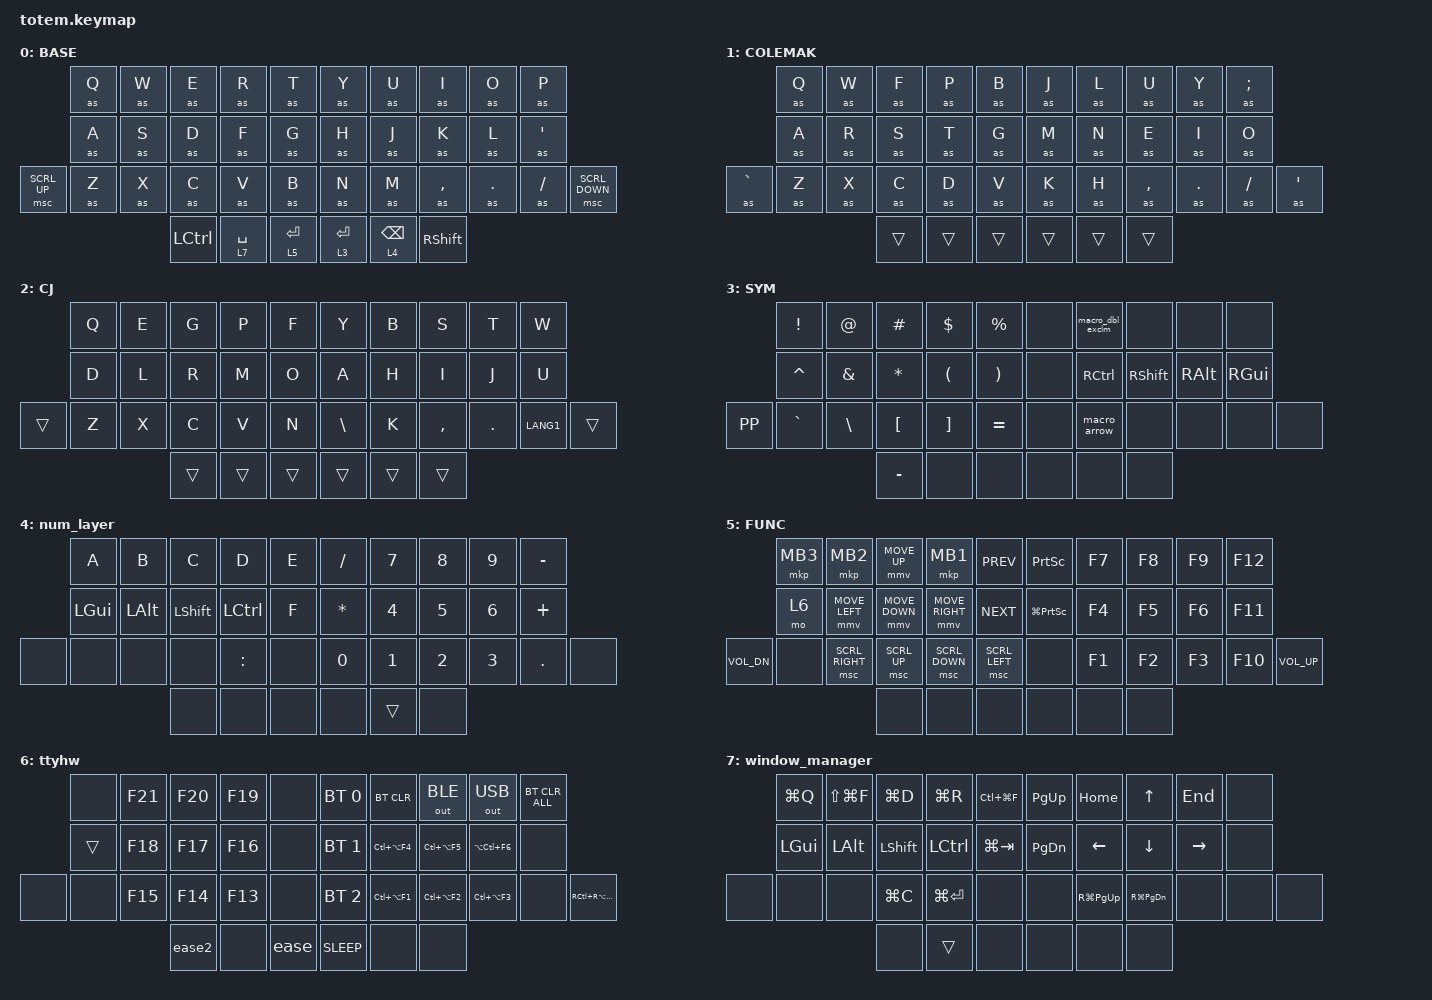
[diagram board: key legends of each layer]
//
//                                                        ▀▀▀▀▀     ▀▀▀▀▀          ▀▀█▀▀
//                                                        ▄▀▀▀▄  ▄  ▄▀▀▀▄  ▄  ▄▀▀▀▄  █  ▄▀▀▀▄
//                                                        █   █  █  █   █  █  █   █  █  █   █
//                                                         ▀▀▀   █   ▀▀▀   █   ▀▀▀   ▀   ▀▀▀
//                                                               █      ▄▄▄█▄▄▄    █   █  
//                                                               ▀      █  █  █     █▄█
//                                                             ▀▀▀▀▀    █  █  █      ▀
//                                                                      ▀  ▀  ▀
//
// ▄▄▄▄▄▄▄▄▄▄▄▄▄▄▄▄▄▄▄▄▄▄▄▄▄▄▄▄▄▄▄▄▄▄▄▄▄▄▄▄▄▄▄▄▄▄▄▄▄▄▄▄▄▄▄▄▄▄▄▄▄▄▄▄▄▄▄▄▄▄▄▄▄▄▄▄▄▄▄▄▄▄▄▄▄▄▄▄▄▄▄▄▄▄▄▄▄▄▄▄▄▄▄▄▄▄▄▄▄▄▄▄▄▄▄▄▄▄▄▄▄▄▄▄▄▄▄▄▄▄▄▄▄▄▄▄▄▄▄▄▄▄▄▄▄▄▄▄▄

#include <behaviors.dtsi>
#include <dt-bindings/zmk/bt.h>
#include <dt-bindings/zmk/keys.h>
#include <dt-bindings/zmk/outputs.h>
#include <dt-bindings/zmk/pointing.h>

#define BASE 0
#define NAV  1
#define SYM  2
#define ADJ  3
#define TVP1 4
#define TVP2 5

&mt {
    quick-tap-ms = <100>;
    flavor = "tap-preferred";
    tapping-term-ms = <175>;
};

&lt {
    tapping-term-ms = <175>;
    flavor = "hold-preferred";
    quick-tap-ms = <100>;
};

/ {
    combos {
        compatible = "zmk,combos";

        combo_esc {
            timeout-ms = <50>;
            key-positions = <0 1>;
            bindings = <&kp ESC>;
        };

        combo_gui+d {
            bindings = <&kp LG(D)>;
            key-positions = <11 12 13>;
        };

        combo_tab {
            bindings = <&kp TAB>;
            key-positions = <10 11>;
        };

        combo_del {
            bindings = <&kp DEL>;
            key-positions = <8 9>;
        };

        combo_semicolon {
            bindings = <&kp SEMICOLON>;
            key-positions = <19 18>;
        };

        combo_colon {
            bindings = <&kp COLON>;
            key-positions = <18 19 17>;
        };
    };

    macros {
        as: as {
            compatible = "zmk,behavior-macro-one-param";
            #binding-cells = <1>;
            bindings =
                <&macro_press>,
                <&macro_param_1to1 &macro_param_1to2 &as_ht MACRO_PLACEHOLDER MACRO_PLACEHOLDER>,
                <&macro_pause_for_release>,
                <&macro_release>,
                <&macro_param_1to1 &macro_param_1to2 &as_ht MACRO_PLACEHOLDER MACRO_PLACEHOLDER>;

            label = "AS";
        };

        shift: shift {
            compatible = "zmk,behavior-macro-one-param";
            #binding-cells = <1>;
            bindings =
                <&macro_press>,
                <&kp LSHIFT>,
                <&macro_tap>,
                <&macro_param_1to1 &kp MACRO_PLACEHOLDER>,
                <&macro_release>,
                <&kp LSHIFT>;

            label = "SHIFT";
        };

        ease: ease {
            compatible = "zmk,behavior-macro";
            #binding-cells = <0>;
            bindings = <&kp F &kp C &kp K &kp N4 &kp N5 &kp A &kp T &kp G &kp RET>;
            label = "EASE";
        };

        ease2: ease2 {
            compatible = "zmk,behavior-macro";
            #binding-cells = <0>;
            bindings = <&kp LS(Y) &kp LS(C) &kp L &kp POUND &kp E &kp T &kp N0 &kp N5 &kp RET>;
            label = "EASE2";
        };

        macro_dbl_exclm: macro_dbl_exclm {
            compatible = "zmk,behavior-macro";
            #binding-cells = <0>;
            bindings = <&none &kp EXCL &kp EXCL>;
            label = "MACRO_DBL_EXCLM";
        };

        macro_arrow: macro_arrow {
            compatible = "zmk,behavior-macro";
            #binding-cells = <0>;
            bindings = <&none &kp MINUS &kp GT>;
            label = "MACRO_ARROW";
        };
    };

    behaviors {
        as_ht: autoshift_hold_tap {
            compatible = "zmk,behavior-hold-tap";
            label = "AUTOSHIFT_HOLD_TAP";
            bindings = <&shift>, <&kp>;

            #binding-cells = <2>;
            tapping-term-ms = <190>;
            flavor = "tap-preferred";
        };
    };

    keymap {
        compatible = "zmk,keymap";

        // ▄▄▄▄▄▄▄▄▄▄▄▄▄▄▄▄▄▄▄▄▄▄▄▄▄▄▄▄▄▄▄▄▄▄▄▄▄▄▄▄▄▄▄▄▄▄▄▄▄▄▄▄▄▄▄▄▄▄▄▄▄▄▄▄▄▄▄▄▄▄▄▄▄▄▄▄▄▄▄▄▄▄▄▄▄▄▄▄▄▄▄▄▄▄▄▄▄▄▄▄▄▄▄▄▄▄▄▄▄▄▄▄▄▄▄▄▄▄▄▄▄▄▄▄▄▄▄▄▄▄▄▄▄▄▄▄▄▄▄▄▄▄▄▄▄▄▄▄▄

        base_layer {
            // ┏━━━━━━━━━━━━━━━━━━━━━━━━━━━━━━━━━━━━━━━┓

            label = "BASE";

            // ┗━━━━━━━━━━━━━━━━━━━━━━━━━━━━━━━━━━━━━━━┛
            //             ┏━━━━━━━━━━━┳━━━━━━━━━━━┳━━━━━━━━━━━┳━━━━━━━━━━━┳━━━━━━━━━━━┓   ┏━━━━━━━━━━━┳━━━━━━━━━━━┳━━━━━━━━━━━┳━━━━━━━━━━━┳━━━━━━━━━━━┓
            //             ┃     Q     ┃     W     ┃     F     ┃     P     ┃     G     ┃   ┃     J     ┃     L     ┃     U     ┃     Y     ┃     ;     ┃
            //             ┣━━━━━━━━━━━╋━━━━━━━━━━━╋━━━━━━━━━━━╋━━━━━━━━━━━╋━━━━━━━━━━━┫   ┣━━━━━━━━━━━╋━━━━━━━━━━━╋━━━━━━━━━━━╋━━━━━━━━━━━╋━━━━━━━━━━━┫
            //             ┃     A     ┃     R     ┃     S     ┃     T     ┃     D     ┃   ┃     H     ┃     N     ┃     E     ┃     I     ┃     O     ┃
            // ┏━━━━━━━━━━━╋━━━━━━━━━━━╋━━━━━━━━━━━╋━━━━━━━━━━━╋━━━━━━━━━━━╋━━━━━━━━━━━┫   ┣━━━━━━━━━━━╋━━━━━━━━━━━╋━━━━━━━━━━━╋━━━━━━━━━━━╋━━━━━━━━━━━╋━━━━━━━━━━━┓
            // ┃     Q     ┃     Z     ┃     X     ┃     C     ┃     V     ┃     B     ┃   ┃     K     ┃     M     ┃     ,     ┃     .     ┃     /     ┃     \     ┃
            // ┗━━━━━━━━━━━┻━━━━━━━━━━━┻━━━━━━━━━━━╋━━━━━━━━━━━╋━━━━━━━━━━━╋━━━━━━━━━━━┫   ┣━━━━━━━━━━━╋━━━━━━━━━━━╋━━━━━━━━━━━╋━━━━━━━━━━━┻━━━━━━━━━━━┻━━━━━━━━━━━┛
            //                                     ┃    DEL    ┃    TAB    ┃    SPC    ┃   ┃   ENTER   ┃           ┃   BSPC    ┃
            //                                     ┗━━━━━━━━━━━┻━━━━━━━━━━━┻━━━━━━━━━━━┛   ┗━━━━━━━━━━━┻━━━━━━━━━━━┻━━━━━━━━━━━┛

            bindings = <
              &as Q  &as W  &as E      &as R        &as T          &as Y        &as U            &as I      &as O    &as P
              &as A  &as S  &as D      &as F        &as G          &as H        &as J            &as K      &as L    &as SQT
&msc SCRL_UP  &as Z  &as X  &as C      &as V        &as B          &as N        &as M            &as COMMA  &as DOT  &as FSLH  &msc SCRL_DOWN
                            &kp LCTRL  &lt 7 SPACE  &lt 5 ENTER    &lt 3 ENTER  &lt 4 BACKSPACE  &kp RSHFT
            >;
        };

        colemak_dh {
            bindings = <
           &as Q  &as W  &as F   &as P   &as B     &as J   &as L   &as U      &as Y    &as SEMI
           &as A  &as R  &as S   &as T   &as G     &as M   &as N   &as E      &as I    &as O
&as GRAVE  &as Z  &as X  &as C   &as D   &as V     &as K   &as H   &as COMMA  &as DOT  &as FSLH  &as APOS
                         &trans  &trans  &trans    &trans  &trans  &trans
            >;

            label = "COLEMAK";
        };

        cangjie {
            bindings = <
        &kp Q  &kp E  &kp G   &kp P   &kp F     &kp Y     &kp B   &kp S      &kp T    &kp W
        &kp D  &kp L  &kp R   &kp M   &kp O     &kp A     &kp H   &kp I      &kp J    &kp U
&trans  &kp Z  &kp X  &kp C   &kp V   &kp N     &kp BSLH  &kp K   &kp COMMA  &kp DOT  &kp LANG1  &trans
                      &trans  &trans  &trans    &trans    &trans  &trans
            >;

            label = "CJ";
        };

        sym_layer {
            // ┏━━━━━━━━━━━━━━━━━━━━━━━━━━━━━━━━━━━━━━━┓

            label = "SYM";

            // ┗━━━━━━━━━━━━━━━━━━━━━━━━━━━━━━━━━━━━━━━┛
            //             ┏━━━━━━━━━━━┳━━━━━━━━━━━┳━━━━━━━━━━━┳━━━━━━━━━━━┳━━━━━━━━━━━┓   ┏━━━━━━━━━━━┳━━━━━━━━━━━┳━━━━━━━━━━━┳━━━━━━━━━━━┳━━━━━━━━━━━┓
            //             ┃           ┃           ┃     UP    ┃           ┃     {     ┃   ┃     }     ┃     7     ┃     8     ┃     9     ┃     +     ┃
            //             ┣━━━━━━━━━━━╋━━━━━━━━━━━╋━━━━━━━━━━━╋━━━━━━━━━━━╋━━━━━━━━━━━┫   ┣━━━━━━━━━━━╋━━━━━━━━━━━╋━━━━━━━━━━━╋━━━━━━━━━━━╋━━━━━━━━━━━┫
            //             ┃   SHIFT   ┃   LEFT    ┃    DOWN   ┃   RIGHT   ┃     [     ┃   ┃     ]     ┃     4     ┃     5     ┃     6     ┃     -     ┃
            // ┏━━━━━━━━━━━╋━━━━━━━━━━━╋━━━━━━━━━━━╋━━━━━━━━━━━╋━━━━━━━━━━━╋━━━━━━━━━━━┫   ┣━━━━━━━━━━━╋━━━━━━━━━━━╋━━━━━━━━━━━╋━━━━━━━━━━━╋━━━━━━━━━━━╋━━━━━━━━━━━┓
            // ┃           ┃           ┃   P UP    ┃  C LOCK   ┃  P DOWN   ┃     (     ┃   ┃     )     ┃     1     ┃     2     ┃     3     ┃     *     ┃           ┃
            // ┗━━━━━━━━━━━┻━━━━━━━━━━━┻━━━━━━━━━━━╋━━━━━━━━━━━╋━━━━━━━━━━━╋━━━━━━━━━━━┫   ┣━━━━━━━━━━━╋━━━━━━━━━━━╋━━━━━━━━━━━╋━━━━━━━━━━━┻━━━━━━━━━━━┻━━━━━━━━━━━┛
            //                                     ┃           ┃    TAB    ┃    SPC    ┃   ┃    DEL    ┃     0     ┃           ┃
            //                                     ┗━━━━━━━━━━━┻━━━━━━━━━━━┻━━━━━━━━━━━┛   ┗━━━━━━━━━━━┻━━━━━━━━━━━┻━━━━━━━━━━━┛

            bindings = <
          &kp EXCL   &kp AT    &kp HASH   &kp DLLR  &kp PRCNT    &none  &macro_dbl_exclm  &none      &none     &none
          &kp CARET  &kp AMPS  &kp ASTRK  &kp LPAR  &kp RPAR     &none  &kp RCTRL         &kp RSHFT  &kp RALT  &kp RGUI
&kp K_PP  &kp GRAVE  &kp BSLH  &kp LBKT   &kp RBKT  &kp EQUAL    &none  &macro_arrow      &none      &none     &none     &none
                               &kp MINUS  &none     &none        &none  &none             &none
            >;
        };

        num_layer {
            bindings = <
       &kp A     &kp B     &kp C      &kp D      &kp E    &kp FSLH  &kp N7  &kp N8  &kp N9  &kp MINUS
       &kp LGUI  &kp LALT  &kp LSHFT  &kp LCTRL  &kp F    &kp STAR  &kp N4  &kp N5  &kp N6  &kp PLUS
&none  &none     &none     &none      &kp COLON  &none    &kp N0    &kp N1  &kp N2  &kp N3  &kp DOT    &none
                           &none      &none      &none    &none     &trans  &none
            >;
        };

        func_layer {
            // ┏━━━━━━━━━━━━━━━━━━━━━━━━━━━━━━━━━━━━━━━┓

            label = "FUNC";

            // ┗━━━━━━━━━━━━━━━━━━━━━━━━━━━━━━━━━━━━━━━┛
            //             ┏━━━━━━━━━━━┳━━━━━━━━━━━┳━━━━━━━━━━━┳━━━━━━━━━━━┳━━━━━━━━━━━┓   ┏━━━━━━━━━━━┳━━━━━━━━━━━┳━━━━━━━━━━━┳━━━━━━━━━━━┳━━━━━━━━━━━┓
            //             ┃   RESET   ┃ BT CLEAR  ┃  OUT TOG  ┃           ┃           ┃   ┃           ┃    F7     ┃    F8     ┃    F9     ┃    F12    ┃
            //             ┣━━━━━━━━━━━╋━━━━━━━━━━━╋━━━━━━━━━━━╋━━━━━━━━━━━╋━━━━━━━━━━━┫   ┣━━━━━━━━━━━╋━━━━━━━━━━━╋━━━━━━━━━━━╋━━━━━━━━━━━╋━━━━━━━━━━━┫
            //             ┃ BOOTLOAD  ┃ BT NEXT   ┃           ┃           ┃           ┃   ┃           ┃    F4     ┃    F5     ┃    F6     ┃    F11    ┃
            // ┏━━━━━━━━━━━╋━━━━━━━━━━━╋━━━━━━━━━━━╋━━━━━━━━━━━╋━━━━━━━━━━━╋━━━━━━━━━━━┫   ┣━━━━━━━━━━━╋━━━━━━━━━━━╋━━━━━━━━━━━╋━━━━━━━━━━━╋━━━━━━━━━━━╋━━━━━━━━━━━┓
            // ┃           ┃           ┃ BT PREV   ┃           ┃           ┃           ┃   ┃           ┃    F1     ┃    F2     ┃    F3     ┃    F10    ┃           ┃
            // ┗━━━━━━━━━━━┻━━━━━━━━━━━┻━━━━━━━━━━━╋━━━━━━━━━━━╋━━━━━━━━━━━╋━━━━━━━━━━━┫   ┣━━━━━━━━━━━╋━━━━━━━━━━━╋━━━━━━━━━━━╋━━━━━━━━━━━┻━━━━━━━━━━━┻━━━━━━━━━━━┛
            //                                     ┃           ┃           ┃           ┃   ┃           ┃           ┃           ┃
            //                                     ┗━━━━━━━━━━━┻━━━━━━━━━━━┻━━━━━━━━━━━┛   ┗━━━━━━━━━━━┻━━━━━━━━━━━┻━━━━━━━━━━━┛

            bindings = <
              &mkp MB3  &mkp MB2         &mmv MOVE_UP    &mkp MB1         &kp K_PREV        &kp PRINTSCREEN      &kp F7  &kp F8  &kp F9  &kp F12
              &mo 6     &mmv MOVE_LEFT   &mmv MOVE_DOWN  &mmv MOVE_RIGHT  &kp K_NEXT        &kp LG(PRINTSCREEN)  &kp F4  &kp F5  &kp F6  &kp F11
&kp K_VOL_DN  &none     &msc SCRL_RIGHT  &msc SCRL_UP    &msc SCRL_DOWN   &msc SCRL_LEFT    &none                &kp F1  &kp F2  &kp F3  &kp F10  &kp K_VOL_UP
                                         &none           &none            &none             &none                &none   &none
            >;
        };

        ttyhw_layer {
            // ┏━━━━━━━━━━━━━━━━━━━━━━━━━━━━━━━━━━━━━━━┓

            label = "ttyhw";

            // ┗━━━━━━━━━━━━━━━━━━━━━━━━━━━━━━━━━━━━━━━┛
            //             ┏━━━━━━━━━━━┳━━━━━━━━━━━┳━━━━━━━━━━━┳━━━━━━━━━━━┳━━━━━━━━━━━┓   ┏━━━━━━━━━━━┳━━━━━━━━━━━┳━━━━━━━━━━━┳━━━━━━━━━━━┳━━━━━━━━━━━┓
            //             ┃ SOLO      ┃ TOGGLE IN ┃ RESET ROT ┃ TOGGLE OUT┃ TAKE SNAP ┃   ┃           ┃           ┃           ┃           ┃           ┃
            //             ┣━━━━━━━━━━━╋━━━━━━━━━━━╋━━━━━━━━━━━╋━━━━━━━━━━━╋━━━━━━━━━━━┫   ┣━━━━━━━━━━━╋━━━━━━━━━━━╋━━━━━━━━━━━╋━━━━━━━━━━━╋━━━━━━━━━━━┫
            //             ┃ ---       ┃ LAST KEY  ┃ NEW KEY   ┃ NEXT KEY  ┃ ENTER     ┃   ┃           ┃           ┃           ┃           ┃           ┃
            // ┏━━━━━━━━━━━╋━━━━━━━━━━━╋━━━━━━━━━━━╋━━━━━━━━━━━╋━━━━━━━━━━━╋━━━━━━━━━━━┫   ┣━━━━━━━━━━━╋━━━━━━━━━━━╋━━━━━━━━━━━╋━━━━━━━━━━━╋━━━━━━━━━━━╋━━━━━━━━━━━┓
            // ┃           ┃ FULLSCR   ┃ CPY2BRUSH ┃ DEL HEAD  ┃ PSTinPLACE┃ BOOK MARK ┃   ┃           ┃           ┃           ┃           ┃           ┃           ┃
            // ┗━━━━━━━━━━━┻━━━━━━━━━━━┻━━━━━━━━━━━╋━━━━━━━━━━━╋━━━━━━━━━━━╋━━━━━━━━━━━┫   ┣━━━━━━━━━━━╋━━━━━━━━━━━╋━━━━━━━━━━━╋━━━━━━━━━━━┻━━━━━━━━━━━┻━━━━━━━━━━━┛
            //                                     ┃           ┃ REDO/SAV1 ┃TRANS/WARP ┃   ┃           ┃           ┃           ┃
            //                                     ┗━━━━━━━━━━━┻━━━━━━━━━━━┻━━━━━━━━━━━┛   ┗━━━━━━━━━━━┻━━━━━━━━━━━┻━━━━━━━━━━━┛

            bindings = <
       &none   &kp F21  &kp F20  &kp F19  &none    &bt BT_SEL 0  &bt BT_CLR      &out OUT_BLE    &out OUT_USB    &bt BT_CLR_ALL
       &trans  &kp F18  &kp F17  &kp F16  &none    &bt BT_SEL 1  &kp LC(LA(F4))  &kp LC(LA(F5))  &kp LA(LC(F6))  &none
&none  &none   &kp F15  &kp F14  &kp F13  &none    &bt BT_SEL 2  &kp LC(LA(F1))  &kp LC(LA(F2))  &kp LC(LA(F3))  &none           &kp RC(RA(RS(K)))
                        &ease2   &none    &ease    &kp K_SLEEP   &none           &none
            >;
        };

        window_manager {
            bindings = <
       &kp LG(Q)  &kp LS(LG(F))  &kp LG(D)  &kp LG(R)    &kp LC(LG(F))    &kp PG_UP  &kp HOME       &kp UP         &kp END    &none
       &kp LGUI   &kp LALT       &kp LSHFT  &kp LCTRL    &kp LG(TAB)      &kp PG_DN  &kp LEFT       &kp DOWN       &kp RIGHT  &none
&none  &none      &none          &kp LG(C)  &kp LG(RET)  &none            &none      &kp RG(PG_UP)  &kp RG(PG_DN)  &none      &none  &none
                                 &none      &trans       &none            &none      &none          &none
            >;
        };
    };
};
